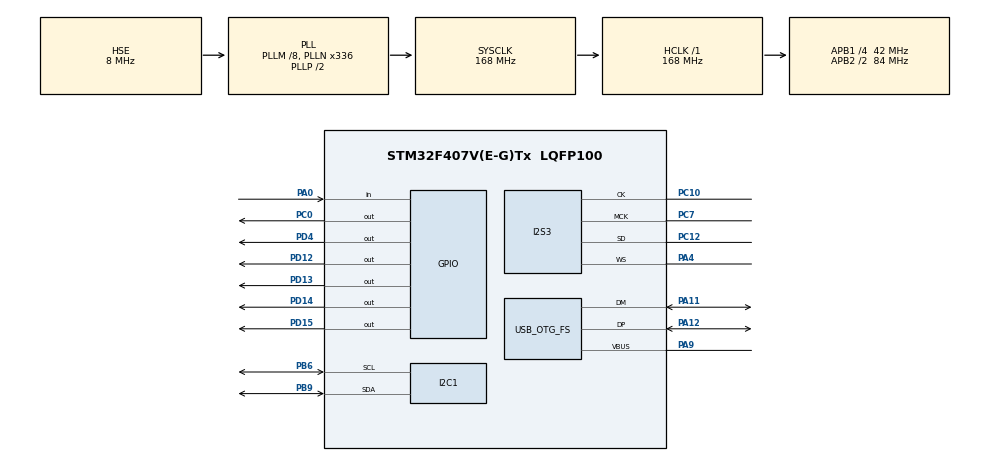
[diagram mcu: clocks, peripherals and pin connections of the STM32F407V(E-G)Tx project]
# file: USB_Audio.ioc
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Dma.Request0=SPI3_TX
Dma.SPI3_TX.0.Direction=DMA_MEMORY_TO_PERIPH
Dma.SPI3_TX.0.FIFOMode=DMA_FIFOMODE_ENABLE
Dma.SPI3_TX.0.FIFOThreshold=DMA_FIFO_THRESHOLD_FULL
Dma.SPI3_TX.0.Instance=DMA1_Stream5
Dma.SPI3_TX.0.MemBurst=DMA_MBURST_SINGLE
Dma.SPI3_TX.0.MemDataAlignment=DMA_MDATAALIGN_HALFWORD
Dma.SPI3_TX.0.MemInc=DMA_MINC_ENABLE
Dma.SPI3_TX.0.Mode=DMA_CIRCULAR
Dma.SPI3_TX.0.PeriphBurst=DMA_PBURST_SINGLE
Dma.SPI3_TX.0.PeriphDataAlignment=DMA_PDATAALIGN_HALFWORD
Dma.SPI3_TX.0.PeriphInc=DMA_PINC_DISABLE
Dma.SPI3_TX.0.Priority=DMA_PRIORITY_LOW
I2S3.AudioFreq=I2S_AUDIOFREQ_44K
I2S3.ErrorAudioFreq=0.24 %
I2S3.FullDuplexMode=I2S_FULLDUPLEXMODE_DISABLE
I2S3.Instance=SPI$Index
I2S3.RealAudioFreq=44.108 KHz
I2S3.VirtualMode=I2S_MODE_MASTER
Mcu.Family=STM32F4
Mcu.Name=STM32F407V(E-G)Tx
Mcu.Package=LQFP100
NVIC.DMA1_Stream5_IRQn=true\:0\:0\:false\:false\:true\:false\:true\:true
NVIC.OTG_FS_IRQn=true\:0\:0\:false\:false\:true\:true\:true\:true
NVIC.PriorityGroup=NVIC_PRIORITYGROUP_0
PA0-WKUP.Signal=GPIO_Input
PA11.Mode=Device_Only
PA11.Signal=USB_OTG_FS_DM
PA12.Mode=Device_Only
PA12.Signal=USB_OTG_FS_DP
PA4.Mode=Half_Duplex_Master
PA4.Signal=I2S3_WS
PA9.Mode=Activate_VBUS
PA9.Signal=USB_OTG_FS_VBUS
PB6.Mode=I2C
PB6.Signal=I2C1_SCL
PB9.Mode=I2C
PB9.Signal=I2C1_SDA
PC0.Signal=GPIO_Output
PC10.Mode=Half_Duplex_Master
PC10.Signal=I2S3_CK
PC12.Mode=Half_Duplex_Master
PC12.Signal=I2S3_SD
PC7.Mode=Master_Clock_Activated
PC7.Signal=I2S3_MCK
PD12.Signal=GPIO_Output
PD13.Signal=GPIO_Output
PD14.Signal=GPIO_Output
PD15.Signal=GPIO_Output
PD4.Signal=GPIO_Output
PH0-OSC_IN.Mode=HSE-External-Oscillator
PH0-OSC_IN.Signal=RCC_OSC_IN
PH1-OSC_OUT.Mode=HSE-External-Oscillator
PH1-OSC_OUT.Signal=RCC_OSC_OUT
ProjectManager.HeapSize=0x2000
ProjectManager.StackSize=0x2000
ProjectManager.TargetToolchain=STM32CubeIDE
RCC.48MHZClocksFreq_Value=48000000
RCC.AHBFreq_Value=168000000
RCC.APB1CLKDivider=RCC_HCLK_DIV4
RCC.APB1Freq_Value=42000000
RCC.APB1TimFreq_Value=84000000
RCC.APB2CLKDivider=RCC_HCLK_DIV2
RCC.APB2Freq_Value=84000000
RCC.APB2TimFreq_Value=168000000
RCC.CortexFreq_Value=168000000
RCC.HCLKFreq_Value=168000000
RCC.HSE_VALUE=8000000
RCC.HSI_VALUE=16000000
RCC.PLLI2SN=271
RCC.PLLI2SR=6
RCC.PLLM=8
RCC.PLLN=336
RCC.PLLQ=7
RCC.SYSCLKFreq_VALUE=168000000
RCC.SYSCLKSource=RCC_SYSCLKSOURCE_PLLCLK
RCC.VCOOutputFreq_Value=336000000
USB_DEVICE.CLASS_NAME_FS=AUDIO
USB_DEVICE.VirtualMode-AUDIO_FS=Audio
USB_DEVICE.VirtualModeFS=Audio_FS
USB_OTG_FS.VirtualMode=Device_Only
VP_USB_DEVICE_VS_USB_DEVICE_AUDIO_FS.Mode=AUDIO_FS
board=STM32F407G-DISC1

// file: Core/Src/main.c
/* USER CODE BEGIN Header */
/**
  ******************************************************************************
  * @file           : main.c
  * @brief          : Main program body
  ******************************************************************************
  * @attention
  *
  * Copyright (c) 2023 STMicroelectronics.
  * All rights reserved.
  *
  * This software is licensed under terms that can be found in the LICENSE file
  * in the root directory of this software component.
  * If no LICENSE file comes with this software, it is provided AS-IS.
  *
  ******************************************************************************
  */
/* USER CODE END Header */
#include "main.h"
#include "usb_device.h"

/* USER CODE BEGIN Includes */

#include "usbd_audio.h"
/* USER CODE END Includes */

/* USER CODE BEGIN PTD */
// between [14  20]
#define TIME_BIT_SCALE_FACT 18u
#define AUDIO_OUT_PACKET_SIZE 512
uint8_t audioBuffer[AUDIO_OUT_PACKET_SIZE];

/* USER CODE END PTD */

 I2C_HandleTypeDef hi2c1;

I2S_HandleTypeDef hi2s3;
DMA_HandleTypeDef hdma_spi3_tx;

void SystemClock_Config(void);
static void MX_GPIO_Init(void);
static void MX_I2C1_Init(void);
static void MX_DMA_Init(void);
static void MX_I2S3_Init(void);

/* USER CODE BEGIN 0 */
volatile int AUDIO_OUT_Play_Counter;
uint32_t samplesInBuff = 0;
int32_t samplesInBuffH = 0;
int16_t* usb_SndBuffer = 0;

uint32_t samplesInBuffScaled = 0;
uint32_t readPositionXScaled = 0;  //readPosition<<12;

void  AUDIO_Init(uint32_t AudioFreq, uint32_t Volume, uint32_t options)
{
	printf("AUDIO_Init %lu %lu %lu\n", (unsigned long) AudioFreq, (unsigned long) Volume, (unsigned long) options);
}

void AUDIO_OUT_Start(uint16_t* pBuffer, uint32_t Size)
{
	printf("AUDIO_OUT_Start %p Size = %lu\n", (void *) pBuffer, (unsigned long) Size);
	samplesInBuff = Size / 4; //(L & R channels short)
	samplesInBuffH = samplesInBuff / 2;

	usb_SndBuffer = (int16_t*) pBuffer;
	AUDIO_OUT_Play_Counter++;

	samplesInBuffScaled = samplesInBuff<<TIME_BIT_SCALE_FACT;
	readPositionXScaled = samplesInBuffScaled / 2;

}

/* USER CODE END 0 */

int main(void)
{

  /* MCU Configuration--------------------------------------------------------*/

  /* Reset of all peripherals, Initializes the Flash interface and the Systick. */
  HAL_Init();

  /* Configure the system clock */
  SystemClock_Config();

  /* Initialize all configured peripherals */
  MX_GPIO_Init();
  MX_I2C1_Init();
  MX_DMA_Init();
  MX_I2S3_Init();
  MX_USB_DEVICE_Init();

  /* Infinite loop */
  while (1)
  {

  }
}

void SystemClock_Config(void)
{
  RCC_OscInitTypeDef RCC_OscInitStruct = {0};
  RCC_ClkInitTypeDef RCC_ClkInitStruct = {0};

  /** Configure the main internal regulator output voltage
  */
  __HAL_RCC_PWR_CLK_ENABLE();
  __HAL_PWR_VOLTAGESCALING_CONFIG(PWR_REGULATOR_VOLTAGE_SCALE1);

  /** Initializes the RCC Oscillators according to the specified parameters
  * in the RCC_OscInitTypeDef structure.
  */
  RCC_OscInitStruct.OscillatorType = RCC_OSCILLATORTYPE_HSE;
  RCC_OscInitStruct.HSEState = RCC_HSE_ON;
  RCC_OscInitStruct.PLL.PLLState = RCC_PLL_ON;
  RCC_OscInitStruct.PLL.PLLSource = RCC_PLLSOURCE_HSE;
  RCC_OscInitStruct.PLL.PLLM = 8;
  RCC_OscInitStruct.PLL.PLLN = 336;
  RCC_OscInitStruct.PLL.PLLP = RCC_PLLP_DIV2;
  RCC_OscInitStruct.PLL.PLLQ = 7;
  if (HAL_RCC_OscConfig(&RCC_OscInitStruct) != HAL_OK)
  {
    Error_Handler();
  }

  /** Initializes the CPU, AHB and APB buses clocks
  */
  RCC_ClkInitStruct.ClockType = RCC_CLOCKTYPE_HCLK|RCC_CLOCKTYPE_SYSCLK
                              |RCC_CLOCKTYPE_PCLK1|RCC_CLOCKTYPE_PCLK2;
  RCC_ClkInitStruct.SYSCLKSource = RCC_SYSCLKSOURCE_PLLCLK;
  RCC_ClkInitStruct.AHBCLKDivider = RCC_SYSCLK_DIV1;
  RCC_ClkInitStruct.APB1CLKDivider = RCC_HCLK_DIV4;
  RCC_ClkInitStruct.APB2CLKDivider = RCC_HCLK_DIV2;

  if (HAL_RCC_ClockConfig(&RCC_ClkInitStruct, FLASH_LATENCY_5) != HAL_OK)
  {
    Error_Handler();
  }
}

static void MX_I2C1_Init(void)
{

  hi2c1.Instance = I2C1;
  hi2c1.Init.ClockSpeed = 100000;
  hi2c1.Init.DutyCycle = I2C_DUTYCYCLE_2;
  hi2c1.Init.OwnAddress1 = 0;
  hi2c1.Init.AddressingMode = I2C_ADDRESSINGMODE_7BIT;
  hi2c1.Init.DualAddressMode = I2C_DUALADDRESS_DISABLE;
  hi2c1.Init.OwnAddress2 = 0;
  hi2c1.Init.GeneralCallMode = I2C_GENERALCALL_DISABLE;
  hi2c1.Init.NoStretchMode = I2C_NOSTRETCH_DISABLE;
  if (HAL_I2C_Init(&hi2c1) != HAL_OK)
  {
    Error_Handler();
  }

}

static void MX_I2S3_Init(void)
{

  hi2s3.Instance = SPI3;
  hi2s3.Init.Mode = I2S_MODE_MASTER_TX;
  hi2s3.Init.Standard = I2S_STANDARD_PHILIPS;
  hi2s3.Init.DataFormat = I2S_DATAFORMAT_16B;
  hi2s3.Init.MCLKOutput = I2S_MCLKOUTPUT_ENABLE;
  hi2s3.Init.AudioFreq = I2S_AUDIOFREQ_44K;
  hi2s3.Init.CPOL = I2S_CPOL_LOW;
  hi2s3.Init.ClockSource = I2S_CLOCK_PLL;
  hi2s3.Init.FullDuplexMode = I2S_FULLDUPLEXMODE_DISABLE;
  if (HAL_I2S_Init(&hi2s3) != HAL_OK)
  {
    Error_Handler();
  }

}

static void MX_DMA_Init(void)
{

  /* DMA controller clock enable */
  __HAL_RCC_DMA1_CLK_ENABLE();

  /* DMA interrupt init */
  /* DMA1_Stream5_IRQn interrupt configuration */
  HAL_NVIC_SetPriority(DMA1_Stream5_IRQn, 0, 0);
  HAL_NVIC_EnableIRQ(DMA1_Stream5_IRQn);

}

static void MX_GPIO_Init(void)
{
  GPIO_InitTypeDef GPIO_InitStruct = {0};

  /* GPIO Ports Clock Enable */
  __HAL_RCC_GPIOH_CLK_ENABLE();
  __HAL_RCC_GPIOC_CLK_ENABLE();
  __HAL_RCC_GPIOA_CLK_ENABLE();
  __HAL_RCC_GPIOD_CLK_ENABLE();
  __HAL_RCC_GPIOB_CLK_ENABLE();

  /*Configure GPIO pin Output Level */
  HAL_GPIO_WritePin(GPIOC, GPIO_PIN_0, GPIO_PIN_RESET);

  /*Configure GPIO pin Output Level */
  HAL_GPIO_WritePin(GPIOD, GPIO_PIN_12|GPIO_PIN_13|GPIO_PIN_14|GPIO_PIN_15
                          |GPIO_PIN_4, GPIO_PIN_RESET);

  /*Configure GPIO pin : PC0 */
  GPIO_InitStruct.Pin = GPIO_PIN_0;
  GPIO_InitStruct.Mode = GPIO_MODE_OUTPUT_PP;
  GPIO_InitStruct.Pull = GPIO_NOPULL;
  GPIO_InitStruct.Speed = GPIO_SPEED_FREQ_LOW;
  HAL_GPIO_Init(GPIOC, &GPIO_InitStruct);

  /*Configure GPIO pin : PA0 */
  GPIO_InitStruct.Pin = GPIO_PIN_0;
  GPIO_InitStruct.Mode = GPIO_MODE_INPUT;
  GPIO_InitStruct.Pull = GPIO_NOPULL;
  HAL_GPIO_Init(GPIOA, &GPIO_InitStruct);

  /*Configure GPIO pins : PD12 PD13 PD14 PD15
                           PD4 */
  GPIO_InitStruct.Pin = GPIO_PIN_12|GPIO_PIN_13|GPIO_PIN_14|GPIO_PIN_15
                          |GPIO_PIN_4;
  GPIO_InitStruct.Mode = GPIO_MODE_OUTPUT_PP;
  GPIO_InitStruct.Pull = GPIO_NOPULL;
  GPIO_InitStruct.Speed = GPIO_SPEED_FREQ_LOW;
  HAL_GPIO_Init(GPIOD, &GPIO_InitStruct);

}

void Error_Handler(void)
{
  __disable_irq();
  while (1)
  {
  }
}
